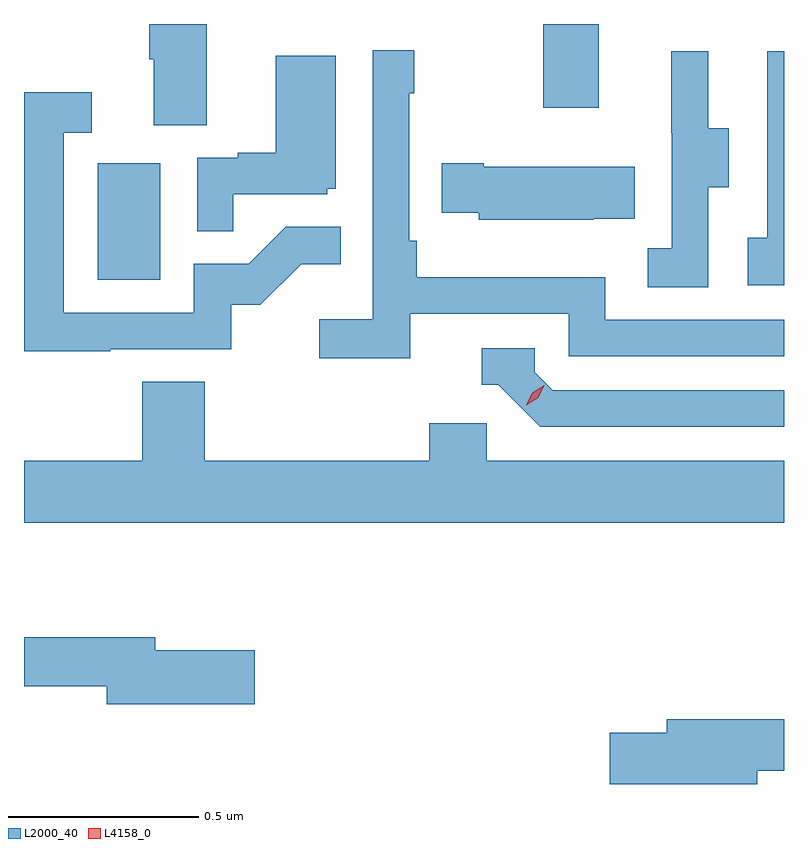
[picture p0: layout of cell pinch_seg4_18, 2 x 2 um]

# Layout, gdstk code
import gdstk
lib = gdstk.Library(unit=1e-6, precision=1e-09)
def R(c, l, rs):  # rectangles x0, y0, x1, y1
    for r in rs: c.add(gdstk.rectangle(r[:2], r[2:], *l))
def P(c, l, *ps):  # polygons
    for p in ps: c.add(gdstk.Polygon(p, *l))
L2000_40 = (2000, 40)
L4158_0 = (4158, 0)

pinch_seg4_18 = lib.new_cell('pinch_seg4_18')
R(pinch_seg4_18, L2000_40, [(1109.486,818.772,1109.65,819.079), (1110.658,819.225,1110.805,819.445)])
P(pinch_seg4_18, L2000_40, [(1109.621,819.352),(1109.633,819.352),(1109.633,819.178),(1109.773,819.178),(1109.773,819.445),(1109.621,819.445)],
  [(1110.308,818.682),(1110.726,818.682),(1110.726,818.571),(1111.292,818.571),(1111.292,818.667),(1110.822,818.667),(1110.822,818.779),(1110.326,818.779),(1110.326,818.875),(1110.306,818.875),(1110.306,819.263),(1110.319,819.263),(1110.319,819.376),(1110.21,819.376),(1110.21,818.668),(1110.069,818.668),(1110.069,818.566),(1110.308,818.566)],
  [(1111.092,819.016),(1111.147,819.016),(1111.147,819.171),(1111.093,819.171),(1111.093,819.373),(1110.995,819.373),(1110.995,819.159),(1110.996,819.159),(1110.996,818.855),(1110.933,818.855),(1110.933,818.752),(1111.092,818.752)],
  [(1111.292,819.373),(1111.248,819.373),(1111.248,818.882),(1111.197,818.882),(1111.197,818.757),(1111.292,818.757)],
  [(1109.843,818.997),(1110.09,818.997),(1110.09,819.012),(1110.112,819.012),(1110.112,819.361),(1109.954,819.361),(1109.954,819.106),(1109.855,819.106),(1109.855,819.093),(1109.748,819.093),(1109.748,818.899),(1109.843,818.899)],
  [(1109.519,818.589),(1109.838,818.589),(1109.838,818.706),(1109.914,818.706),(1110.021,818.813),(1110.125,818.813),(1110.125,818.912),(1109.981,818.912),(1109.883,818.814),(1109.739,818.814),(1109.739,818.685),(1109.397,818.685),(1109.397,819.159),(1109.47,819.159),(1109.47,819.265),(1109.292,819.265),(1109.292,818.584),(1109.519,818.584)],
  [(1110.791,818.933),(1110.899,818.933),(1110.899,819.07),(1110.502,819.07),(1110.502,819.078),(1110.391,819.078),(1110.391,818.948),(1110.489,818.948),(1110.489,818.93),(1110.791,818.93)],
  [(1111.292,818.481),(1110.684,818.481),(1110.636,818.529),(1110.636,818.592),(1110.497,818.592),(1110.497,818.496),(1110.54,818.496),(1110.651,818.385),(1111.292,818.385)],
  [(1111.292,818.296),(1110.51,818.296),(1110.51,818.394),(1110.359,818.394),(1110.359,818.296),(1109.768,818.296),(1109.768,818.504),(1109.603,818.504),(1109.603,818.296),(1109.292,818.296),(1109.292,818.132),(1111.292,818.132)],
  [(1109.899,817.797),(1109.638,817.797),(1109.638,817.831),(1109.292,817.831),(1109.292,817.702),(1109.51,817.702),(1109.51,817.655),(1109.899,817.655)],
  [(1111.222,817.48),(1111.292,817.48),(1111.292,817.616),(1110.983,817.616),(1110.983,817.58),(1110.834,817.58),(1110.834,817.445),(1111.222,817.445)])
P(pinch_seg4_18, L4158_0, [(1110.614,818.442),(1110.614,818.442),(1110.63,818.475),(1110.661,818.494),(1110.661,818.494),(1110.661,818.494),(1110.645,818.461),(1110.614,818.442)])

lib.write_gds('pinch_seg4_18.gds')
